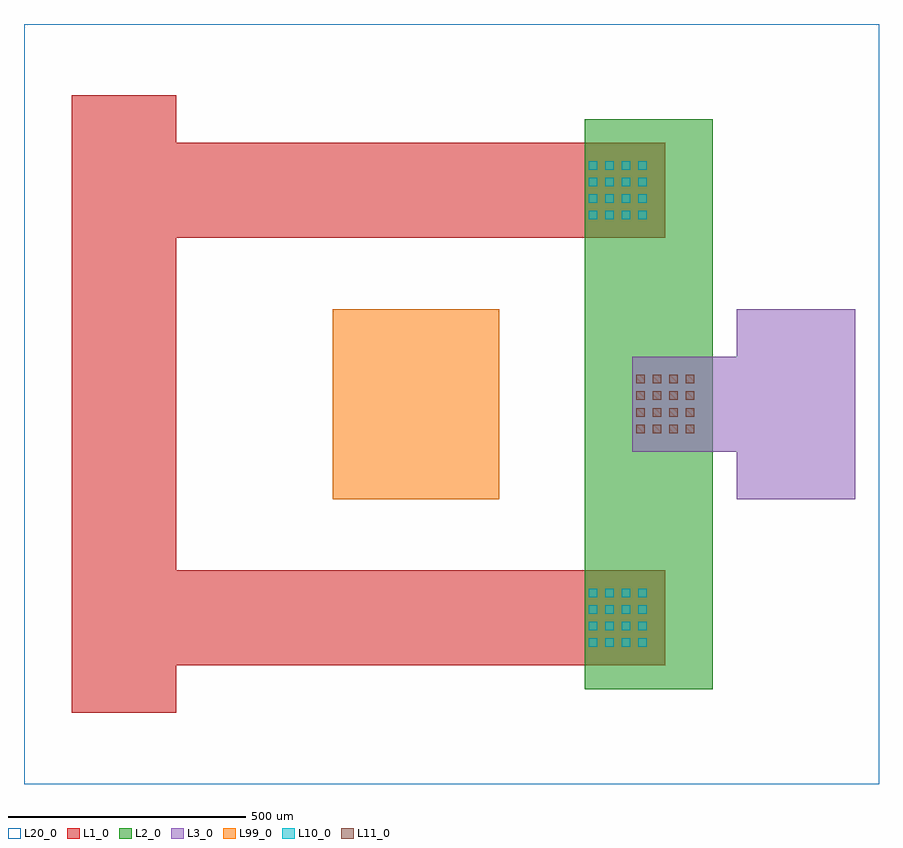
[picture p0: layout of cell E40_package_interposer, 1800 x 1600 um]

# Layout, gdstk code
import gdstk
lib = gdstk.Library(unit=1e-6, precision=1e-09)
def R(c, l, rs):  # rectangles x0, y0, x1, y1
    for r in rs: c.add(gdstk.rectangle(r[:2], r[2:], *l))
L1_0 = (1, 0)
L2_0 = (2, 0)
L3_0 = (3, 0)
L10_0 = (10, 0)
L11_0 = (11, 0)
L20_0 = (20, 0)
L99_0 = (99, 0)

interposer_via_10 = lib.new_cell('INTERPOSER_VIA_10')
R(interposer_via_10, L10_0, [(-9,-9,9,9)])

interposer_via_11 = lib.new_cell('INTERPOSER_VIA_11')
R(interposer_via_11, L11_0, [(-9,-9,9,9)])

e40_package_interposer = lib.new_cell('E40_package_interposer')
R(e40_package_interposer, L1_0, [(100,150,320,1450), (250,250,1350,450), (250,1150,1350,1350)])
R(e40_package_interposer, L2_0, [(1180,200,1450,1400)])
R(e40_package_interposer, L3_0, [(1500,600,1750,1000), (1280,700,1650,900)])
R(e40_package_interposer, L20_0, [(0,0,1800,1600)])
R(e40_package_interposer, L99_0, [(650,600,1000,1000)])
r = gdstk.Reference(interposer_via_10, (1197.5,297.5)); r.repetition = gdstk.Repetition(4, 4, v1=(35,0), v2=(0,35)); e40_package_interposer.add(r)
r = gdstk.Reference(interposer_via_10, (1197.5,1197.5)); r.repetition = gdstk.Repetition(4, 4, v1=(35,0), v2=(0,35)); e40_package_interposer.add(r)
r = gdstk.Reference(interposer_via_11, (1297.5,747.5)); r.repetition = gdstk.Repetition(4, 4, v1=(35,0), v2=(0,35)); e40_package_interposer.add(r)

lib.write_gds('E40_package_interposer.gds')
